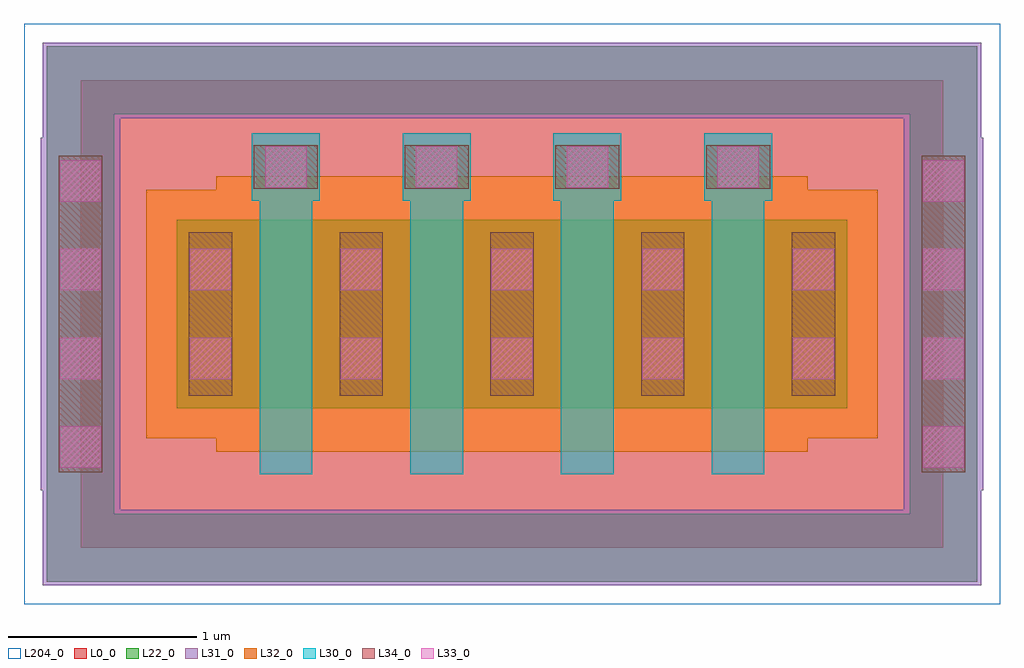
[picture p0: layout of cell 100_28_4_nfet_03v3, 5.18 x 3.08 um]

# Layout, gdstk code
import gdstk
lib = gdstk.Library(unit=1e-6, precision=1e-09)
def R(c, l, rs):  # rectangles x0, y0, x1, y1
    for r in rs: c.add(gdstk.rectangle(r[:2], r[2:], *l))
def A(c, l, x, y, w, h, nx, ny, dx, dy):  # array of equal rectangles
    R(c, l, [(x+i*dx, y+j*dy, x+i*dx+w, y+j*dy+h) for i in range(nx) for j in range(ny)])
L0_0 = (0, 0)
L22_0 = (22, 0)
L30_0 = (30, 0)
L31_0 = (31, 0)
L32_0 = (32, 0)
L33_0 = (33, 0)
L34_0 = (34, 0)
L204_0 = (204, 0)

c_100_28_4_nfet_03v3 = lib.new_cell('100_28_4_nfet_03v3')
R(c_100_28_4_nfet_03v3, L0_0, [(-2.29,-1.24,2.29,1.24)])
R(c_100_28_4_nfet_03v3, L22_0, [(-2.47,-1.42,2.47,-1.06), (-2.47,-1.06,-2.11,1.06), (2.11,-1.06,2.47,1.06), (-1.78,-0.5,1.78,0.5), (-2.47,1.06,2.47,1.42)])
A(c_100_28_4_nfet_03v3, L30_0, -1.34, -0.85, 0.28, 1.45, 4, 1, 0.8, 0)
A(c_100_28_4_nfet_03v3, L30_0, -1.38, 0.6, 0.36, 0.36, 4, 1, 0.8, 0)
R(c_100_28_4_nfet_03v3, L31_0, [(-2.49,-1.44,2.49,-1.04), (-2.49,-1.04,-2.08,-0.935), (2.08,-1.04,2.49,-0.935), (-2.5,-0.935,-2.08,0.935), (2.08,-0.935,2.5,0.935), (-2.49,0.935,-2.08,1.04), (2.08,0.935,2.49,1.04), (-2.49,1.04,2.49,1.44)])
R(c_100_28_4_nfet_03v3, L32_0, [(-1.57,-0.73,1.57,-0.66), (-1.94,-0.66,1.94,0.66), (-1.57,0.66,1.57,0.73)])
A(c_100_28_4_nfet_03v3, L33_0, -2.4, -0.815, 0.22, 0.22, 1, 4, 0, 0.47)
A(c_100_28_4_nfet_03v3, L33_0, 2.18, -0.815, 0.22, 0.22, 1, 4, 0, 0.47)
A(c_100_28_4_nfet_03v3, L33_0, -1.71, -0.345, 0.22, 0.22, 5, 2, 0.8, 0.47)
A(c_100_28_4_nfet_03v3, L33_0, -1.31, 0.67, 0.22, 0.22, 4, 1, 0.8, 0)
A(c_100_28_4_nfet_03v3, L34_0, -1.715, -0.435, 0.23, 0.87, 5, 1, 0.8, 0)
A(c_100_28_4_nfet_03v3, L34_0, -1.37, 0.665, 0.34, 0.23, 4, 1, 0.8, 0)
R(c_100_28_4_nfet_03v3, L34_0, [(-2.405,-0.84,-2.175,0.84), (2.175,-0.84,2.405,0.84)])
R(c_100_28_4_nfet_03v3, L204_0, [(-2.59,-1.54,2.59,1.54)])

lib.write_gds('100_28_4_nfet_03v3.gds')
